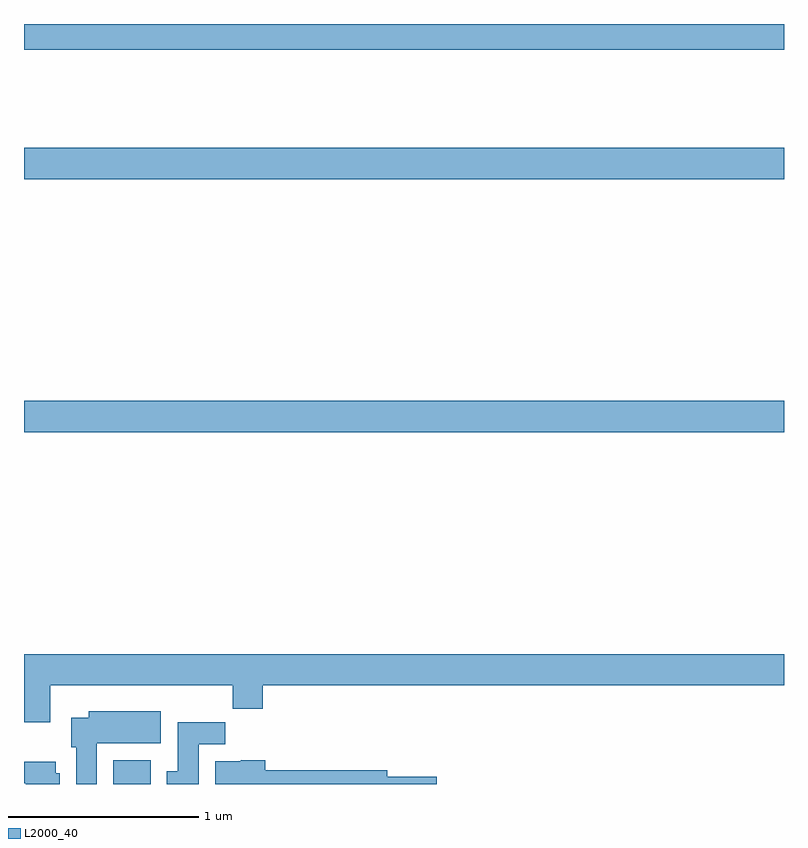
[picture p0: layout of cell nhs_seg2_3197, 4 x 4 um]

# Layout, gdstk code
import gdstk
lib = gdstk.Library(unit=1e-6, precision=1e-09)
def R(c, l, rs):  # rectangles x0, y0, x1, y1
    for r in rs: c.add(gdstk.rectangle(r[:2], r[2:], *l))
def P(c, l, *ps):  # polygons
    for p in ps: c.add(gdstk.Polygon(p, *l))
L2000_40 = (2000, 40)

nhs_seg2_3197 = lib.new_cell('nhs_seg2_3197')
R(nhs_seg2_3197, L2000_40, [(279.471,629.8,279.667,629.926), (279,631.652,283,631.816), (279,632.984,283,633.148), (279,633.664,283,633.8)])
P(nhs_seg2_3197, L2000_40, [(279.139,630.32),(280.099,630.32),(280.099,630.196),(280.256,630.196),(280.256,630.32),(283,630.32),(283,630.484),(279,630.484),(279,630.126),(279.139,630.126)],
  [(279.382,630.014),(279.721,630.014),(279.721,630.184),(279.341,630.184),(279.341,630.148),(279.248,630.148),(279.248,629.994),(279.275,629.994),(279.275,629.8),(279.382,629.8)],
  [(279.919,630.008),(280.058,630.008),(280.058,630.126),(279.809,630.126),(279.809,629.868),(279.752,629.868),(279.752,629.8),(279.919,629.8)],
  [(281.173,629.838),(280.912,629.838),(280.912,629.872),(280.271,629.872),(280.271,629.926),(280.14,629.926),(280.14,629.92),(280.007,629.92),(280.007,629.8),(281.173,629.8)],
  [(279.187,629.856),(279.166,629.856),(279.166,629.917),(279,629.917),(279,629.804),(279.008,629.804),(279.008,629.8),(279.187,629.8)])

lib.write_gds('nhs_seg2_3197.gds')
